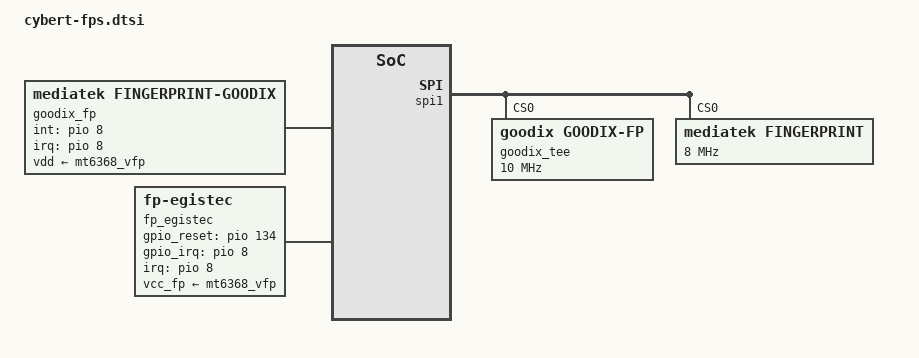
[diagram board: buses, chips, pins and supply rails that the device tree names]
// SPDX-License-Identifier: GPL-2.0
//
// Copyright (c) 2023 Motorola Inc.
&pio {

	fingerfp_rst_high: fingerfp_rst_high {
		pins_cmd_dat {
			pinmux = <PINMUX_GPIO134__FUNC_GPIO134>;
			slew-rate = <1>;
			output-high;
		};
	};

	fingerfp_rst_low: fingerfp_rst_low {
		pins_cmd_dat {
			pinmux = <PINMUX_GPIO134__FUNC_GPIO134>;
			slew-rate = <1>;
			output-low;
		};
	};

	fingerfp_irq_active: fingerfp_irq_active {
		pins_cmd_dat {
			pinmux = <PINMUX_GPIO8__FUNC_GPIO8>;
			slew-rate = <0>;
			bias-disable;
		};
	};

	fingerfp_spi_active: fingerfp_spi_active {
		pins_cmd_dat {
			pinmux = <PINMUX_GPIO52__FUNC_SPI1_MI>, <PINMUX_GPIO51__FUNC_SPI1_CSB>, <PINMUX_GPIO53__FUNC_SPI1_MO>, <PINMUX_GPIO50__FUNC_SPI1_CLK>;
			drive-strength = <2>;
		};
	};

	fingerfp_spi_default: fingerfp_spi_default {
		pins_cmd_dat {
			pinmux = <PINMUX_GPIO52__FUNC_GPIO52>, <PINMUX_GPIO51__FUNC_GPIO51>, <PINMUX_GPIO53__FUNC_GPIO53>, <PINMUX_GPIO50__FUNC_GPIO50>;
			slew-rate = <1>;
			output-low;
		};
	};
	jiiov_fp_reset_output_low: jiiov_fp_reset_output_low {
		pins_cmd_dat {
		    pinmux = <PINMUX_GPIO134__FUNC_GPIO134>;
		    slew-rate = <1>;
		    output-low;
		};
	};

	jiiov_fp_reset_output_high: jiiov_fp_reset_output_high {
		pins_cmd_dat {
		    pinmux = <PINMUX_GPIO134__FUNC_GPIO134>;
		    slew-rate = <1>;
		    output-high;
		};
	};

	jiiov_fp_irq_default: jiiov_fp_irq_default {
		pins_cmd_dat {
		    pinmux = <PINMUX_GPIO8__FUNC_GPIO8>;
		    slew-rate = <0>;
		    bias-disable;
		};
	};

	jiiov_fp_spi_active: jiiov_fp_spi_active {
		pins_cmd_dat {
			pinmux = <PINMUX_GPIO52__FUNC_SPI1_MI>, <PINMUX_GPIO51__FUNC_SPI1_CSB>, <PINMUX_GPIO53__FUNC_SPI1_MO>, <PINMUX_GPIO50__FUNC_SPI1_CLK>;
			slew-rate = <0>;
			bias-disable;
		};
	};
};

// SPI node start
&spi1 {
	status = "okay";
	tee-only;
	mediatek,pad-select =  <0>, <1>;
	goodix_tee@0 {
		status = "okay";
		compatible = "goodix,goodix-fp";
		reg = <0>;
		spi-max-frequency = <10000000>;
		netlink-event = <30>;
	};

	//egis spi
	fingerprint@1 {
		compatible = "mediatek,fingerprint";
		reg = <0>;
		spi-max-frequency = <8000000>;
		status = "okay";
	};
};
&odm {
	goodix_fp:goodix_fp{
		compatible = "mediatek,fingerprint-goodix";
		interrupt-parent = <&pio>;

		interrupts = <8 IRQ_TYPE_EDGE_RISING 8 0>;
		pinctrl-names = "fingerprint_irq", "fingerprint_reset_high", "fingerprint_reset_low";
		pinctrl-0 = <&fingerfp_irq_active>;
		pinctrl-1 = <&fingerfp_rst_high>;
		pinctrl-2 = <&fingerfp_rst_low>;
		int-gpios = <&pio 8 0>;
		rgltr-ctrl-support;
		fp,vdd-supply = <&mt6368_vfp>;	// ldo for support module vcc
		fp,voltage-range = <3300000 3300000>;	// ldo voltage default 3.3V
		fp,vdd-current = <100000>;
		status = "okay";
	};
	fp_egistec {
	status="okay";
		compatible = "fp-egistec";
		interrupt-parent = <&pio>;
		interrupts = <8 IRQ_TYPE_EDGE_RISING 8 0>;
		fp-ctrl-power;
		egistec,gpio_reset = <&pio 134 0x0>;
		egistec,gpio_irq = <&pio 8 0x0>;

		vcc_fp-supply = <&mt6368_vfp>;	// ldo for support module vcc
		egis-fp,vcc-voltage = <3300000 3300000>;	// ldo voltage default 3.3V
		egis-fp,vcc-current = <100000>;

		pinctrl-names = "egis_rst_high", "egis_rst_low", "egis_irq_active", "egis_spi_active", "egis_spi_default";
		pinctrl-0 = <&fingerfp_rst_high>;
		pinctrl-1 = <&fingerfp_rst_low>;
		pinctrl-2 = <&fingerfp_irq_active>;
		pinctrl-3 = <&fingerfp_spi_active>;
		pinctrl-4 = <&fingerfp_spi_default>;
	};
};


